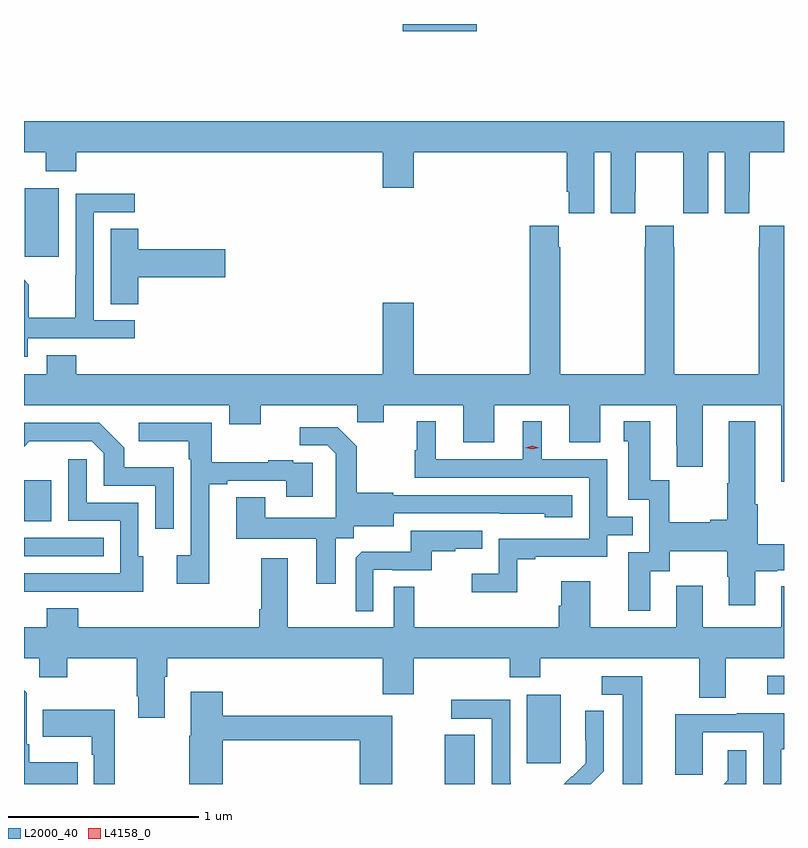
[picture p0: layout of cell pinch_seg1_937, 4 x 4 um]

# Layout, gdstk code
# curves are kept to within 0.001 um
import gdstk
lib = gdstk.Library(unit=1e-6, precision=1e-09)
def R(c, l, rs):  # rectangles x0, y0, x1, y1
    for r in rs: c.add(gdstk.rectangle(r[:2], r[2:], *l))
def P(c, l, *ps):  # polygons
    for p in ps: c.add(gdstk.Polygon(p, *l))
L2000_40 = (2000, 40)
L4158_0 = (4158, 0)

pinch_seg1_937 = lib.new_cell('pinch_seg1_937')
R(pinch_seg1_937, L2000_40, [(165.335,549.739,165.493,549.998), (165.767,549.849,165.946,550.21), (167.031,550.212,167.12,550.308), (163.12,550.938,163.541,551.034), (163.12,551.123,163.264,551.338), (163.124,552.513,163.303,552.874), (165.114,553.702,165.502,553.739)])
P(pinch_seg1_937, L2000_40, [(166.12,553.064),(166.208,553.064),(166.208,552.744),(166.338,552.744),(166.338,552.856),(166.339,552.856),(166.339,553.064),(166.589,553.064),(166.589,552.856),(166.59,552.856),(166.59,552.744),(166.72,552.744),(166.72,553.064),(166.808,553.064),(166.808,552.744),(166.938,552.744),(166.938,552.856),(166.939,552.856),(166.939,553.064),(167.12,553.064),(167.12,553.228),(163.12,553.228),(163.12,553.064),(163.234,553.064),(163.234,552.965),(163.394,552.965),(163.394,553.064),(165.008,553.064),(165.008,552.876),(165.172,552.876),(165.172,553.064),(165.977,553.064),(165.977,552.856),(165.986,552.856),(165.986,552.744),(166.12,552.744)],
  [(163.14,552.084),(163.702,552.084),(163.702,552.18),(163.488,552.18),(163.488,552.747),(163.702,552.747),(163.702,552.846),(163.392,552.846),(163.392,552.416),(163.39,552.416),(163.39,552.193),(163.145,552.193),(163.145,552.367),(163.12,552.392),(163.12,551.987),(163.14,551.987)],
  [(167.12,552.676),(166.989,552.676),(166.989,552.563),(166.987,552.563),(166.987,551.896),(166.542,551.896),(166.542,552.563),(166.539,552.563),(166.539,552.676),(166.389,552.676),(166.389,552.563),(166.387,552.563),(166.387,551.896),(165.942,551.896),(165.942,552.563),(165.935,552.563),(165.935,552.676),(165.782,552.676),(165.782,551.896),(165.172,551.896),(165.172,552.271),(165.008,552.271),(165.008,551.896),(163.394,551.896),(163.394,551.995),(163.241,551.995),(163.241,551.896),(163.12,551.896),(163.12,551.732),(164.201,551.732),(164.201,551.633),(164.365,551.633),(164.365,551.732),(164.875,551.732),(164.875,551.642),(165.013,551.642),(165.013,551.732),(165.431,551.732),(165.431,551.538),(165.595,551.538),(165.595,551.732),(165.989,551.732),(165.989,551.538),(166.153,551.538),(166.153,551.732),(166.553,551.732),(166.553,551.521),(166.556,551.521),(166.556,551.409),(166.693,551.409),(166.693,551.732),(167.105,551.732),(167.105,551.331),(167.12,551.331)],
  [(163.721,552.407),(164.179,552.407),(164.179,552.554),(163.721,552.554),(163.721,552.662),(163.577,552.662),(163.577,552.265),(163.721,552.265)],
  [(166.417,550.858),(166.519,550.858),(166.519,550.964),(166.822,550.964),(166.822,550.83),(166.829,550.83),(166.829,550.68),(166.969,550.68),(166.969,550.858),(167.085,550.858),(167.085,550.865),(167.12,550.865),(167.12,551),(166.982,551),(166.982,551.212),(166.969,551.212),(166.969,551.647),(166.829,551.647),(166.829,551.321),(166.822,551.321),(166.822,551.129),(166.733,551.129),(166.733,551.116),(166.515,551.116),(166.515,551.339),(166.417,551.339),(166.417,551.647),(166.277,551.647),(166.277,551.544),(166.301,551.544),(166.301,551.235),(166.41,551.235),(166.41,550.959),(166.301,550.959),(166.301,550.65),(166.417,550.65)],
  [(165.717,550.923),(165.811,550.923),(165.811,550.935),(166.191,550.935),(166.191,551.049),(166.325,551.049),(166.325,551.145),(166.191,551.145),(166.191,551.448),(165.844,551.448),(165.844,551.647),(165.746,551.647),(165.746,551.448),(165.286,551.448),(165.286,551.647),(165.188,551.647),(165.188,551.496),(165.177,551.496),(165.177,551.352),(166.095,551.352),(166.095,551.031),(165.618,551.031),(165.618,550.846),(165.477,550.846),(165.477,550.748),(165.717,550.748)],
  [(163.908,551.407),(163.647,551.407),(163.647,551.51),(163.516,551.64),(163.12,551.64),(163.12,551.515),(163.148,551.543),(163.476,551.544),(163.539,551.481),(163.539,551.31),(163.812,551.31),(163.812,551.082),(163.908,551.082)],
  [(164.095,551.316),(164.191,551.316),(164.191,551.334),(164.501,551.334),(164.501,551.25),(164.641,551.25),(164.641,551.43),(164.537,551.43),(164.537,551.443),(164.405,551.443),(164.405,551.432),(164.107,551.432),(164.107,551.64),(163.725,551.64),(163.725,551.543),(163.986,551.543),(163.986,551.447),(163.998,551.447),(163.998,550.942),(163.923,550.942),(163.923,550.794),(164.095,550.794)],
  [(164.761,551.032),(164.856,551.032),(164.856,551.096),(165.067,551.096),(165.067,551.163),(165.861,551.162),(165.861,551.144),(166.006,551.144),(166.006,551.259),(165.063,551.259),(165.063,551.272),(164.871,551.272),(164.871,551.517),(164.771,551.617),(164.571,551.617),(164.571,551.523),(164.715,551.523),(164.762,551.476),(164.762,551.381),(164.76,551.381),(164.76,551.14),(164.389,551.14),(164.389,551.249),(164.237,551.249),(164.237,551.03),(164.657,551.03),(164.657,550.794),(164.761,550.794)],
  [(163.747,550.938),(163.722,550.938),(163.722,551.22),(163.449,551.22),(163.449,551.449),(163.353,551.449),(163.353,551.124),(163.626,551.124),(163.626,550.848),(163.12,550.848),(163.12,550.752),(163.529,550.752),(163.529,550.751),(163.747,550.751)],
  [(164.958,550.866),(165.058,550.866),(165.058,550.863),(165.266,550.863),(165.266,550.965),(165.389,550.965),(165.389,550.976),(165.533,550.976),(165.533,551.073),(165.156,551.073),(165.156,550.961),(164.897,550.961),(164.865,550.929),(164.865,550.649),(164.958,550.649)],
  [(163.861,550.304),(163.874,550.304),(163.874,550.4),(165.008,550.4),(165.008,550.212),(165.172,550.212),(165.172,550.4),(165.677,550.4),(165.677,550.301),(165.837,550.301),(165.837,550.4),(166.673,550.4),(166.673,550.192),(166.813,550.192),(166.813,550.4),(167.12,550.4),(167.12,550.78),(167.105,550.78),(167.105,550.564),(166.693,550.564),(166.693,550.783),(166.553,550.783),(166.553,550.564),(166.099,550.564),(166.099,550.807),(165.947,550.807),(165.947,550.677),(165.935,550.677),(165.935,550.564),(165.175,550.564),(165.175,550.778),(165.066,550.778),(165.066,550.564),(164.509,550.564),(164.509,550.927),(164.369,550.927),(164.369,550.66),(164.357,550.66),(164.357,550.564),(163.405,550.564),(163.405,550.663),(163.241,550.663),(163.241,550.564),(163.12,550.564),(163.12,550.4),(163.2,550.4),(163.2,550.301),(163.347,550.301),(163.347,550.4),(163.714,550.4),(163.714,550.201),(163.721,550.201),(163.721,550.089),(163.861,550.089)],
  [(166.375,550.305),(166.161,550.305),(166.161,550.209),(166.271,550.209),(166.271,549.739),(166.375,549.739)],
  [(163.403,549.853),(163.147,549.853),(163.147,549.949),(163.134,549.949),(163.134,550.218),(163.12,550.232),(163.12,549.739),(163.403,549.739)],
  [(164.165,549.97),(164.888,549.97),(164.888,549.739),(165.058,549.739),(165.058,550.099),(164.165,550.099),(164.165,550.225),(163.997,550.225),(163.997,549.993),(163.99,549.993),(163.99,549.739),(164.165,549.739)],
  [(165.681,549.752),(165.678,549.752),(165.678,550.182),(165.369,550.182),(165.369,550.083),(165.582,550.083),(165.582,549.739),(165.681,549.739)],
  [(163.597,550.129),(163.219,550.129),(163.219,549.989),(163.476,549.989),(163.476,549.893),(163.488,549.893),(163.488,549.739),(163.597,549.739)],
  [(166.17,549.806),(166.17,550.124),(166.074,550.124),(166.074,549.97),(166.076,549.97),(166.076,549.848),(166.005,549.777),(166.002,549.78),(165.961,549.739),(166.103,549.739)],
  [(167.106,549.921),(167.12,549.921),(167.12,550.111),(166.871,550.111),(166.871,550.107),(166.547,550.107),(166.547,549.787),(166.692,549.787),(166.692,550.011),(167.01,550.011),(167.01,549.739),(167.106,549.739)],
  [(166.92,549.916),(166.823,549.916),(166.823,549.759),(166.803,549.739),(166.92,549.739)])
P(pinch_seg1_937, L4158_0, [(165.795,551.5),(165.759,551.51),(165.759,551.51),(165.759,551.51),(165.795,551.52),(165.831,551.51),(165.831,551.51),(165.831,551.51)])

lib.write_gds('pinch_seg1_937.gds')
